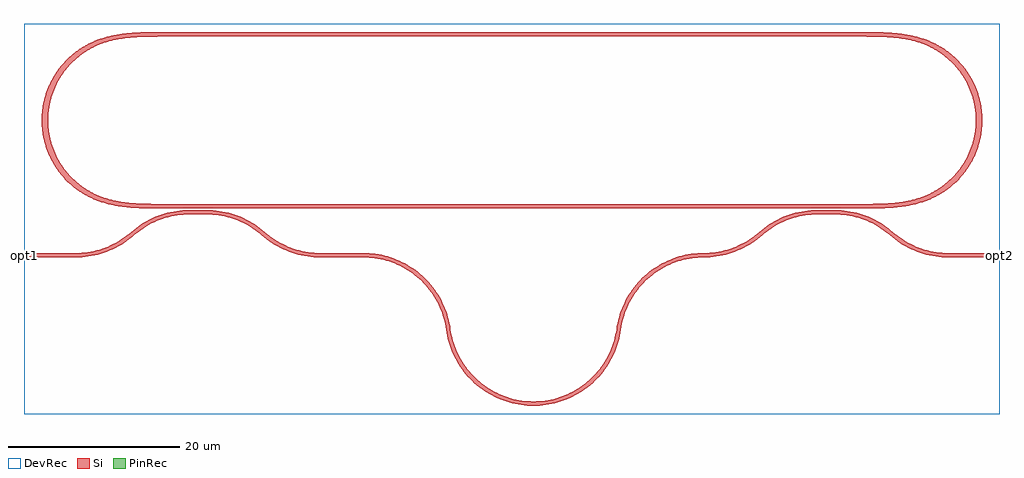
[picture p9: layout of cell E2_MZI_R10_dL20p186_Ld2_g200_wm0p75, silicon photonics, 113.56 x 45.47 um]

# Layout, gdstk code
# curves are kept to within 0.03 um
import gdstk
lib = gdstk.Library(unit=1e-6, precision=1e-09)
def R(c, l, rs):  # rectangles x0, y0, x1, y1
    for r in rs: c.add(gdstk.rectangle(r[:2], r[2:], *l))
def P(c, l, *ps):  # polygons
    for p in ps: c.add(gdstk.Polygon(p, *l))
Si = (1, 0)
PinRec = (1, 10)
DevRec = (68, 0)

c__e2ring_r10p000_lc79p084 = lib.new_cell('_E2ring_R10p000_Lc79p084_w0p500_wm0p750_tp30')
R(c__e2ring_r10p000_lc79p084, Si, [(-39.542,-10.25,39.542,-9.75), (-39.542,9.75,39.542,10.25)])
P(c__e2ring_r10p000_lc79p084, Si, [(-40.703,-10.25),(-43.688,-10.193),(-45.832,-9.976),(-46.808,-9.783),(-47.608,-9.565),(-48.39,-9.289),(-49.148,-8.954),(-50.011,-8.475),(-50.681,-8.02),(-51.433,-7.404),(-52.121,-6.719),(-52.74,-5.969),(-53.197,-5.301),(-53.673,-4.454),(-54.005,-3.715),(-54.322,-2.797),(-54.549,-1.852),(-54.682,-0.89),(-54.722,0.081),(-54.667,1.051),(-54.483,2.17),(-54.226,3.107),(-53.879,4.014),(-53.445,4.884),(-52.929,5.707),(-52.335,6.476),(-51.669,7.184),(-50.938,7.823),(-50.148,8.388),(-49.296,8.88),(-48.39,9.29),(-47.29,9.659),(-46.321,9.888),(-45.01,10.088),(-43.688,10.193),(-39.542,10.25),(-39.542,9.75),(-42.061,9.741),(-43.791,9.678),(-45.356,9.515),(-46.591,9.271),(-47.94,8.841),(-49.079,8.304),(-50.119,7.636),(-51.062,6.84),(-51.988,5.807),(-52.755,4.651),(-53.344,3.395),(-53.591,2.664),(-53.777,1.916),(-53.957,0.54),(-53.934,-0.847),(-53.71,-2.216),(-53.288,-3.538),(-52.972,-4.242),(-52.518,-5.048),(-52.082,-5.684),(-51.492,-6.398),(-50.95,-6.946),(-50.243,-7.543),(-49.611,-7.986),(-48.94,-8.379),(-48.086,-8.781),(-47.198,-9.101),(-46.131,-9.376),(-45.201,-9.537),(-43.005,-9.717),(-39.542,-9.75),(-39.542,-10.25)],
  [(39.542,-10.25),(39.542,-9.75),(42.218,-9.738),(43.791,-9.678),(45.201,-9.537),(46.438,-9.307),(47.348,-9.053),(48.231,-8.72),(49.079,-8.304),(49.868,-7.815),(50.836,-7.05),(51.595,-6.283),(52.263,-5.434),(52.902,-4.379),(53.344,-3.395),(53.71,-2.216),(53.902,-1.154),(53.972,-0.077),(53.902,1.155),(53.71,2.217),(53.398,3.25),(52.972,4.242),(52.435,5.179),(51.696,6.167),(50.95,6.946),(49.994,7.726),(49.216,8.227),(48.375,8.657),(47.497,9.004),(46.438,9.308),(45.045,9.559),(43.791,9.678),(42.061,9.741),(39.542,9.75),(39.542,10.25),(43.356,10.209),(45.504,10.026),(46.646,9.82),(47.608,9.565),(48.39,9.29),(49.296,8.88),(50.148,8.388),(50.938,7.823),(51.669,7.184),(52.335,6.476),(52.929,5.707),(53.445,4.884),(53.879,4.014),(54.226,3.107),(54.483,2.17),(54.648,1.212),(54.719,0.243),(54.695,-0.728),(54.577,-1.693),(54.366,-2.641),(54.064,-3.564),(53.673,-4.454),(53.282,-5.163),(52.74,-5.969),(52.121,-6.719),(51.552,-7.295),(50.938,-7.823),(50.148,-8.388),(49.296,-8.879),(48.543,-9.227),(47.608,-9.565),(46.808,-9.783),(45.01,-10.087),(42.859,-10.226)])

e2_mzi_r10_dl20p186_ld2_ = lib.new_cell('E2_MZI_R10_dL20p186_Ld2_g200_wm0p75')
R(e2_mzi_r10_dl20p186_ld2_, Si, [(-1,-0.25,0,0.25), (0,-0.25,5,0.25), (33.458,-0.25,38.458,0.25), (106.541,-0.25,111.541,0.25), (111.541,-0.25,112.541,0.25), (18.229,4.75,20.229,5.25), (91.313,4.75,93.313,5.25)])
P(e2_mzi_r10_dl20p186_ld2_, Si, [(58.271,-17.523),(58.271,-17.023),(58.952,-16.999),(59.967,-16.874),(60.963,-16.644),(61.612,-16.433),(62.553,-16.032),(63.447,-15.536),(64.284,-14.948),(64.805,-14.509),(65.295,-14.035),(65.965,-13.262),(66.55,-12.423),(66.889,-11.832),(67.187,-11.218),(67.551,-10.263),(67.813,-9.274),(67.93,-8.602),(68.425,-8.671),(68.223,-9.726),(68.027,-10.416),(67.644,-11.42),(67.158,-12.379),(66.779,-12.988),(66.134,-13.848),(65.402,-14.635),(64.87,-15.116),(64.306,-15.558),(63.405,-16.144),(62.448,-16.633),(61.783,-16.902),(61.101,-17.124),(60.054,-17.367),(58.987,-17.498)],
  [(58.271,-17.523),(57.554,-17.498),(56.487,-17.367),(55.44,-17.124),(54.758,-16.902),(54.094,-16.633),(53.136,-16.144),(52.529,-15.764),(51.671,-15.116),(51.139,-14.635),(50.407,-13.848),(49.762,-12.988),(49.383,-12.379),(49.048,-11.746),(48.63,-10.755),(48.319,-9.726),(48.116,-8.671),(48.612,-8.602),(48.728,-9.274),(48.99,-10.263),(49.222,-10.904),(49.652,-11.832),(49.992,-12.423),(50.577,-13.262),(51.246,-14.035),(51.736,-14.509),(52.53,-15.154),(53.387,-15.712),(54.298,-16.177),(54.93,-16.433),(55.578,-16.644),(56.574,-16.874),(57.589,-16.999),(58.271,-17.023)],
  [(106.541,-0.25),(105.432,-0.19),(104.699,-0.083),(103.619,0.175),(102.917,0.412),(101.901,0.86),(101.254,1.219),(100.334,1.843),(99.762,2.313),(100.092,2.688),(100.637,2.241),(101.511,1.648),(102.445,1.152),(103.094,0.88),(104.101,0.56),(104.789,0.409),(105.837,0.275),(106.541,0.25)],
  [(48.116,-8.671),(48,-7.999),(47.738,-7.01),(47.374,-6.055),(47.076,-5.441),(46.736,-4.85),(46.151,-4.011),(45.482,-3.238),(44.992,-2.764),(44.198,-2.119),(43.341,-1.561),(42.431,-1.096),(41.799,-0.84),(41.15,-0.629),(40.154,-0.399),(39.139,-0.274),(38.458,-0.25),(38.458,0.25),(39.531,0.194),(40.241,0.094),(41.288,-0.149),(42.304,-0.499),(42.959,-0.791),(43.899,-1.314),(44.779,-1.931),(45.327,-2.393),(46.086,-3.154),(46.761,-3.991),(47.345,-4.893),(47.831,-5.852),(48.318,-7.2),(48.612,-8.602)],
  [(33.458,-0.25),(32.348,-0.19),(31.616,-0.083),(30.535,0.175),(29.834,0.412),(28.817,0.86),(28.17,1.219),(27.549,1.624),(26.678,2.313),(27.008,2.688),(27.553,2.241),(28.428,1.648),(29.361,1.152),(30.01,0.88),(31.017,0.56),(31.705,0.409),(32.753,0.275),(33.458,0.25)],
  [(99.762,2.313),(98.933,2.967),(98.343,3.352),(97.409,3.848),(96.76,4.12),(95.753,4.44),(95.065,4.591),(94.017,4.725),(93.313,4.75),(93.313,5.25),(94.422,5.19),(95.518,5.01),(96.588,4.713),(97.619,4.301),(98.914,3.584),(100.092,2.688)],
  [(84.864,2.313),(84.533,2.688),(85.711,3.584),(87.006,4.301),(88.038,4.713),(89.108,5.01),(90.204,5.19),(91.313,5.25),(91.313,4.75),(90.609,4.725),(89.561,4.591),(88.873,4.44),(87.866,4.12),(87.216,3.848),(86.283,3.352),(85.693,2.967)],
  [(78.084,-0.25),(78.084,0.25),(78.788,0.275),(79.836,0.409),(80.524,0.56),(81.531,0.88),(82.181,1.152),(83.114,1.648),(83.988,2.241),(84.533,2.688),(84.864,2.313),(84.291,1.843),(83.372,1.219),(82.724,0.86),(81.708,0.412),(81.006,0.175),(79.926,-0.083),(79.193,-0.19)],
  [(26.678,2.313),(25.849,2.967),(25.259,3.352),(24.325,3.848),(23.676,4.12),(22.669,4.44),(21.981,4.591),(20.933,4.725),(20.229,4.75),(20.229,5.25),(21.338,5.19),(22.434,5.01),(23.504,4.713),(24.536,4.301),(25.83,3.584),(27.008,2.688)],
  [(11.78,2.313),(11.449,2.688),(12.627,3.584),(13.922,4.301),(14.954,4.713),(16.024,5.01),(17.12,5.19),(18.229,5.25),(18.229,4.75),(17.525,4.725),(16.477,4.591),(15.789,4.44),(14.782,4.12),(14.132,3.848),(13.199,3.352),(12.609,2.967)],
  [(68.425,-8.671),(67.93,-8.602),(68.224,-7.2),(68.711,-5.852),(69.197,-4.893),(69.78,-3.991),(70.455,-3.154),(71.214,-2.393),(72.049,-1.715),(72.643,-1.314),(73.263,-0.954),(74.237,-0.499),(75.253,-0.149),(76.301,0.094),(77.01,0.194),(78.084,0.25),(78.084,-0.25),(77.402,-0.274),(76.388,-0.399),(75.391,-0.629),(74.743,-0.84),(74.111,-1.096),(73.2,-1.561),(72.343,-2.119),(71.549,-2.764),(70.827,-3.488),(70.39,-4.011),(69.99,-4.564),(69.465,-5.441),(69.035,-6.369),(68.804,-7.01),(68.617,-7.666)],
  [(5,-0.25),(5,0.25),(5.704,0.275),(6.752,0.409),(7.44,0.56),(8.447,0.88),(9.097,1.152),(10.03,1.648),(10.904,2.241),(11.449,2.688),(11.78,2.313),(11.207,1.843),(10.288,1.219),(9.64,0.86),(8.624,0.412),(7.922,0.175),(6.842,-0.083),(6.109,-0.19)])
R(e2_mzi_r10_dl20p186_ld2_, DevRec, [(-1,-18.523,112.541,26.95)])
e2_mzi_r10_dl20p186_ld2_.add(gdstk.FlexPath([(112.531,0),(112.551,0)], 0.5, ends="flush", simple_path=True, layer=1, datatype=10))  # PinRec
e2_mzi_r10_dl20p186_ld2_.add(gdstk.FlexPath([(-0.99,0),(-1.01,0)], 0.5, ends="flush", simple_path=True, layer=1, datatype=10))  # PinRec
e2_mzi_r10_dl20p186_ld2_.add(gdstk.Reference(c__e2ring_r10p000_lc79p084, (55.771,15.7)))
e2_mzi_r10_dl20p186_ld2_.add(gdstk.Label('opt2', (112.541,0), layer=1, texttype=10))
e2_mzi_r10_dl20p186_ld2_.add(gdstk.Label('opt1', (-1,0), layer=1, texttype=10))

lib.write_gds('E2_MZI_R10_dL20p186_Ld2_g200_wm0p75.gds')
